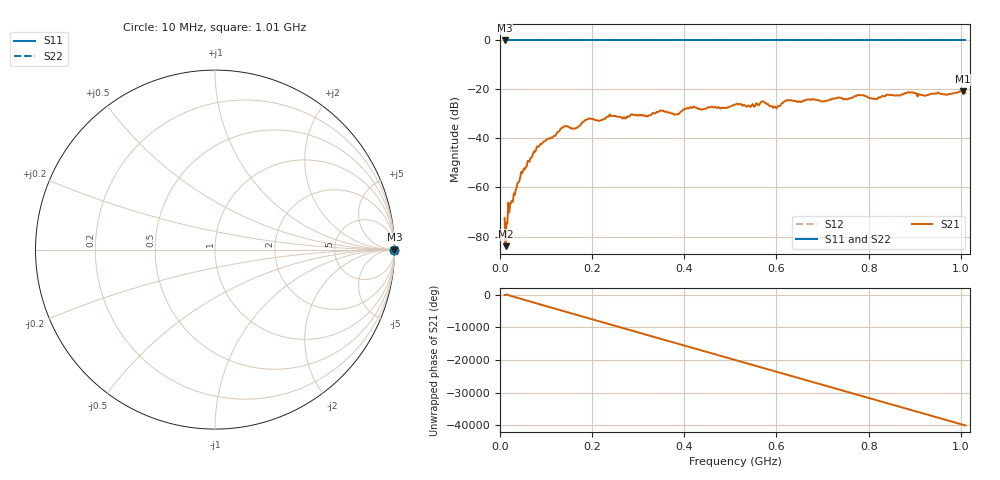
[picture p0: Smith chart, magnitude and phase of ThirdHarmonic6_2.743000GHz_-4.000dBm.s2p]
! 8/17/2025 6:48:55 AM
! C:\ANRITSUVNA\TEMP\TEMP.S2P
! CHANNEL.1
! TR.MEASUREMENT
! RAW.DATA
! RF.CORRECTION.OFF
! AVERAGING.OFF
! IF.BANDWIDTH: 5KHZ
! SWEEPTYPE:  FREQ.SWEEP(Linear)
! Reference Plane Port Info
! PORT:  PORT1  PORT2
! DISTANCE:  0  m  0  m
! TIME:  0  s  0  s
! PHASE.OFFSET:  0  deg.  0  deg.
! LOSS:  0  dB  0  dB
! REF.LOSS:  0  dB  0  dB
! REF.FREQ:  0  Hz  0  Hz
! Power Info
! POWER:  -20  dBm  -20  dBm
! EFF.POWER:  -20  dBm  -20  dBm
! SOURCE.ATTEN:  0  dB  0  dB
! TEST.ATTEN:  0  dB  0  dB
# GHZ S RI R 50.0
! FREQ.GHZ  S11RE  S11IM  S21RE  S21IM  S12RE  S12IM  S22RE  S22IM
!; PortSelection: Port_12
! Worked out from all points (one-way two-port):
!   501 points, 10 MHz to 1.01 GHz, reference 50 ohm
!   highest |S21| = -20.68 dB at 1.004 GHz (marker M1); lowest = -83.9 dB at 12 MHz (marker M2)
!   lowest |S11| = 0.0 dB at 10 MHz (marker M3)
!   |S11| at or under -10 dB: nowhere
!   |S22| runs from 0.0 to 0.0 dB; largest |S21 - S12| = 1.1
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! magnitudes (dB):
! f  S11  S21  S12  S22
! 10 MHz  0.0  -72.5  0.0  0.0
! 12 MHz  0.0  -83.9  0.0  0.0
! 16 MHz  0.0  -74.6  0.0  0.0
! 22 MHz  0.0  -67.2  0.0  0.0
! 42 MHz  0.0  -57.3  0.0  0.0
! 78 MHz  0.0  -44.8  0.0  0.0
! 136 MHz  0.0  -35.6  0.0  0.0
! 162 MHz  0.0  -36.0  0.0  0.0
! 178 MHz  0.0  -33.6  0.0  0.0
! 192 MHz  0.0  -32.0  0.0  0.0
! 322 MHz  0.0  -30.7  0.0  0.0
! 344 MHz  0.0  -29.1  0.0  0.0
! 382 MHz  0.0  -30.2  0.0  0.0
! 410 MHz  0.0  -27.7  0.0  0.0
! 510 MHz  0.0  -26.2  0.0  0.0
! 570 MHz  0.0  -24.8  0.0  0.0
! 596 MHz  0.0  -26.9  0.0  0.0
! 622 MHz  0.0  -24.5  0.0  0.0
! 678 MHz  0.0  -24.1  0.0  0.0
! 844 MHz  0.0  -22.2  0.0  0.0
! 1.004 GHz  0.0  -20.7  0.0  0.0
! 1.01 GHz  0.0  -21.3  0.0  0.0
